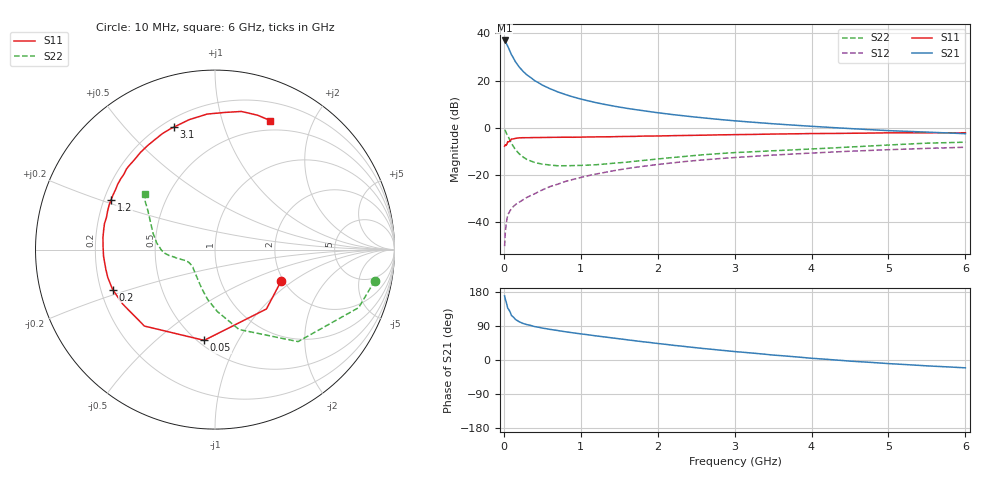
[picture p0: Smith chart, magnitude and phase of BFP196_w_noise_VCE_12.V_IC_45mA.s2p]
! Infineon Technologies  Discrete & RF Semiconductors
! BFP196
! VCE =  12. V,  IC =  45 mA
! Common Emitter S-Parameters:  Jan 2017
# GHz  S  MA  R  50
!  f  S11  S21  S12  S22
! GHz  MAG  ANG  MAG  ANG  MAG  ANG  MAG  ANG
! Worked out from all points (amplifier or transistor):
!   77 points, 10 MHz to 6 GHz, reference 50 ohm
!   highest |S21| = 37.0 dB at 10 MHz (marker M1)
!   |S21| within 3 dB of that: start of sweep to 58.31 MHz
!   unconditionally stable (mu >= 1): 628.9 MHz to 2.417 GHz
!   at 130 MHz: K = 0.55, MSG = 31.2 dB, |S12| = -33.2 dB
!   at 2.2 GHz: K = 1.01, MAG = 9.5 dB, |S12| = -14.8 dB
!   at 6 GHz: K = 0.93, MSG = 2.9 dB, |S12| = -8.2 dB
!   lowest NFmin = 1.39 dB at 450 MHz
!   S11 on the Smith chart (normalised r, x): 10 MHz: 1.94, -0.82; 50 MHz: 0.54, -0.73; 200 MHz: 0.25, -0.18; 1.2 GHz: 0.23, +0.22; 3.1 GHz: 0.24, +0.69; 6 GHz: 0.39, +1.44
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0.01  0.408 -25.4  71.11 169.0  0.0031 65.5  0.9068 -11.0
0.02  0.4377 -49.1  68.91 159.6  0.0064 72.4  0.8633 -22.0
0.05  0.5092 -96.8  53.74 137.1  0.0141 57.5  0.6907 -47.9
0.1  0.5798 -132.7  35.26 117.1  0.0195 51.4  0.4653 -73.2
0.15  0.5974 -149.6  25.21 107.1  0.0235 50.5  0.3454 -87.8
0.2  0.6121 -158.7  19.45 100.9  0.0265 53.8  0.2811 -98.3
0.25  0.6172 -165.3  15.76 96.4  0.0299 55.2  0.2404 -106.0
0.3  0.6181 -169.8  13.22 93.4  0.0335 57.1  0.2133 -112.8
0.4  0.6221 -176.6  10.04 88.2  0.04 60.5  0.1846 -123.0
0.5  0.624 178.3  8.052 84.3  0.0483 62.7  0.17 -130.9
0.6  0.6278 173.8  6.75 80.8  0.0568 63.2  0.1627 -137.1
0.7  0.6296 170.3  5.789 77.8  0.0638 64.2  0.157 -141.7
0.9  0.6308 163.4  4.513 71.7  0.0806 63.6  0.1582 -148.4
1.1  0.6398 157.3  3.721 66.4  0.0969 62.9  0.162 -153.6
1.2  0.6424 154.3  3.413 63.6  0.1048 62.0  0.1649 -155.7
1.6  0.6569 143.0  2.591 53.4  0.137 58.2  0.1873 -162.2
2.1  0.6764 129.9  1.996 41.4  0.1741 52.1  0.2267 -168.9
2.6  0.6988 118.5  1.62 30.2  0.2097 45.8  0.2694 -174.3
3.1  0.72 108.4  1.368 20.6  0.2401 39.6  0.3037 179.1
4.1  0.7573 91.8  1.053 3.2  0.2971 27.8  0.3627 163.5
5.1  0.7831 77.9  0.859 -10.6  0.3481 16.3  0.4401 148.9
6  0.7824 66.8  0.751 -20.7  0.3877 6.3  0.4963 141.3
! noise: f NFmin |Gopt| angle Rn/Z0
0.45  1.39  0.37  -180  0.06
0.9  1.55  0.46  -166  0.07
1.9  2.36  0.68  -133  0.3
2.4  2.76  0.7  -120  0.65
